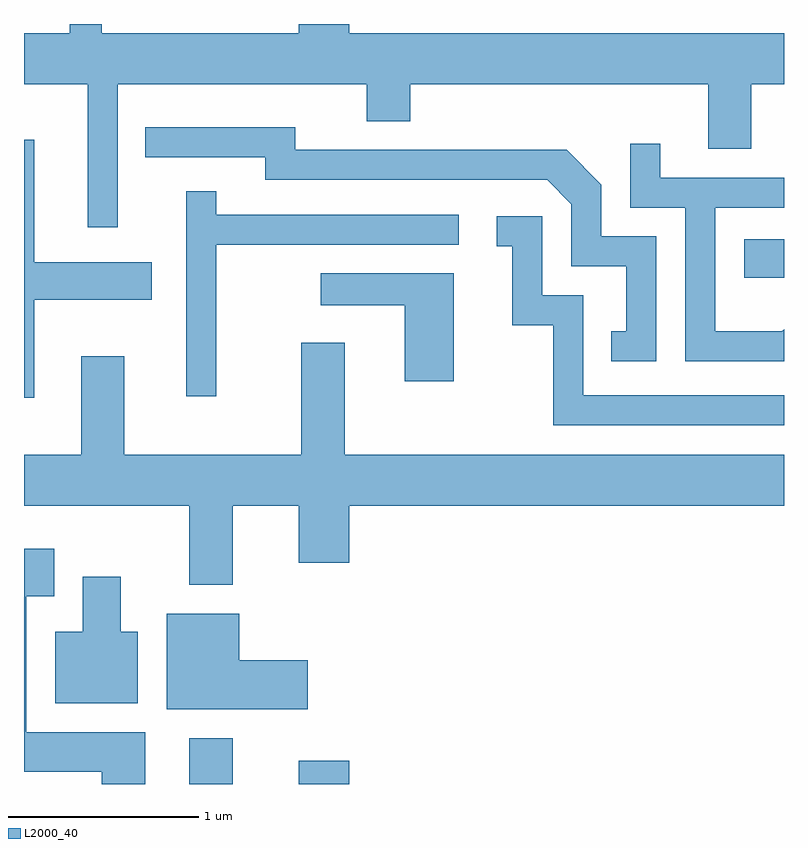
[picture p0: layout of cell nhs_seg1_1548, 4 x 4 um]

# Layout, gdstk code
import gdstk
lib = gdstk.Library(unit=1e-6, precision=1e-09)
def R(c, l, rs):  # rectangles x0, y0, x1, y1
    for r in rs: c.add(gdstk.rectangle(r[:2], r[2:], *l))
def P(c, l, *ps):  # polygons
    for p in ps: c.add(gdstk.Polygon(p, *l))
L2000_40 = (2000, 40)

nhs_seg1_1548 = lib.new_cell('nhs_seg1_1548')
R(nhs_seg1_1548, L2000_40, [(234.481,853.712,234.709,853.954), (235.056,853.712,235.324,853.834), (237.401,856.376,237.611,856.579)])
P(nhs_seg1_1548, L2000_40, [(234.104,857.396),(235.416,857.396),(235.416,857.201),(235.644,857.201),(235.644,857.396),(237.211,857.396),(237.211,857.056),(237.439,857.056),(237.439,857.396),(237.611,857.396),(237.611,857.664),(235.324,857.664),(235.324,857.712),(235.056,857.712),(235.056,857.664),(234.019,857.664),(234.019,857.712),(233.851,857.712),(233.851,857.664),(233.611,857.664),(233.611,857.396),(233.946,857.396),(233.946,856.643),(234.104,856.643)],
  [(236.939,856.594),(236.649,856.594),(236.649,856.867),(236.467,857.049),(235.039,857.049),(235.039,857.169),(234.248,857.169),(234.248,857.011),(234.881,857.011),(234.881,856.891),(236.364,856.891),(236.491,856.764),(236.491,856.436),(236.781,856.436),(236.781,856.094),(236.703,856.094),(236.703,855.936),(236.939,855.936)],
  [(233.664,856.261),(234.284,856.261),(234.284,856.459),(233.664,856.459),(233.664,857.104),(233.611,857.104),(233.611,855.746),(233.664,855.746)],
  [(237.611,856.106),(237.599,856.094),(237.249,856.094),(237.249,856.746),(237.611,856.746),(237.611,856.904),(236.959,856.904),(236.959,857.083),(236.801,857.083),(236.801,856.746),(237.091,856.746),(237.091,855.936),(237.611,855.936)],
  [(234.624,856.551),(235.898,856.551),(235.898,856.709),(234.624,856.709),(234.624,856.833),(234.466,856.833),(234.466,855.753),(234.624,855.753)],
  [(237.611,855.759),(236.554,855.759),(236.554,856.284),(236.339,856.284),(236.339,856.699),(236.098,856.699),(236.098,856.541),(236.181,856.541),(236.181,856.126),(236.396,856.126),(236.396,855.601),(237.611,855.601)],
  [(235.874,856.399),(235.173,856.399),(235.173,856.231),(235.616,856.231),(235.616,855.831),(235.874,855.831)],
  [(234.709,855.176),(235.056,855.176),(235.056,854.876),(235.324,854.876),(235.324,855.176),(237.611,855.176),(237.611,855.444),(235.299,855.444),(235.299,856.034),(235.071,856.034),(235.071,855.444),(234.139,855.444),(234.139,855.964),(233.911,855.964),(233.911,855.444),(233.611,855.444),(233.611,855.176),(234.481,855.176),(234.481,854.761),(234.709,854.761)],
  [(234.249,853.984),(233.624,853.984),(233.624,854.701),(233.769,854.701),(233.769,854.949),(233.611,854.949),(233.611,853.776),(234.021,853.776),(234.021,853.712),(234.249,853.712)],
  [(234.209,854.514),(234.119,854.514),(234.119,854.804),(233.921,854.804),(233.921,854.514),(233.776,854.514),(233.776,854.136),(234.209,854.136)],
  [(235.104,854.364),(234.744,854.364),(234.744,854.609),(234.361,854.609),(234.361,854.106),(235.104,854.106)])

lib.write_gds('nhs_seg1_1548.gds')
